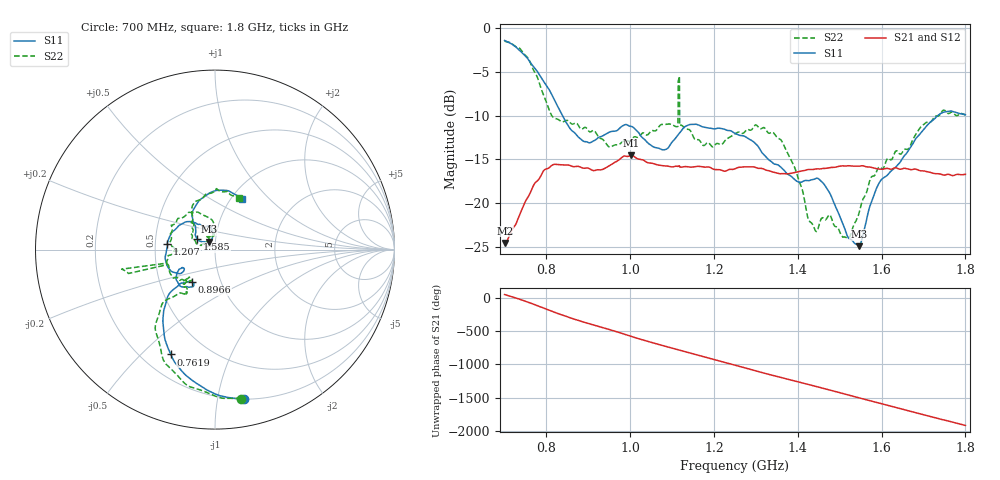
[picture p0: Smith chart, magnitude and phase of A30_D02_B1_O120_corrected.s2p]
! Created with skrf 1.9.0 (http://scikit-rf.org).
# Hz S RI R 50.0
!freq ReS11 ImS11 ReS21 ImS21 ReS12 ImS12 ReS22 ImS22
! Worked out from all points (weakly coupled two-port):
!   1601 points, 700 MHz to 1.8 GHz, reference 50 ohm
!   highest |S21| = -14.56 dB at 1.002 GHz (marker M1); lowest = -24.6 dB at 700.7 MHz (marker M2)
!   lowest |S11| = -24.9 dB at 1.546 GHz (marker M3), VSWR 1.12, Z = 46.4 + j4.16 ohm
!   |S11| at or under -10 dB: 838.2 MHz to 1.734 GHz (895.9 MHz wide, 69.7 % of centre)
!   |S22| runs from -24.1 to -1.5 dB; largest |S21 - S12| = 0.0034
!   S11 on the Smith chart (normalised r, x): 700 MHz: 0.20, -1.19; 761.9 MHz: 0.32, -0.62; 896.6 MHz: 0.73, -0.28; 1.207 GHz: 0.58, +0.04; 1.585 GHz: 0.81, +0.10; 1.8 GHz: 1.12, +0.71
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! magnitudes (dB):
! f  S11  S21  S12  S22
! 700 MHz  -1.4  -24.6  -24.3  -1.5
! 700.7 MHz  -1.4  -24.6  -24.3  -1.5
! 761.9 MHz  -4.0  -18.8  -18.7  -4.0
! 814.1 MHz  -7.7  -15.6  -15.7  -10.1
! 883.6 MHz  -12.8  -15.9  -15.8  -11.6
! 896.6 MHz  -13.0  -16.0  -16.1  -11.5
! 950.9 MHz  -11.9  -15.7  -15.7  -13.6
! 1.002 GHz  -11.2  -14.6  -14.7  -12.8
! 1.067 GHz  -13.7  -15.7  -15.6  -11.4
! 1.12 GHz  -11.9  -15.9  -15.8  -11.1
! 1.154 GHz  -11.0  -15.9  -15.8  -12.7
! 1.207 GHz  -11.5  -16.2  -16.2  -13.2
! 1.25 GHz  -12.0  -16.1  -16.0  -12.1
! 1.359 GHz  -15.9  -16.6  -16.6  -12.8
! 1.434 GHz  -17.3  -16.2  -16.1  -22.3
! 1.471 GHz  -18.5  -16.0  -16.0  -21.6
! 1.519 GHz  -23.8  -15.7  -15.8  -24.0
! 1.546 GHz  -24.9  -15.8  -15.8  -21.2
! 1.585 GHz  -18.7  -16.0  -16.0  -16.7
! 1.617 GHz  -16.6  -16.1  -16.0  -14.9
! 1.737 GHz  -9.9  -16.7  -16.7  -10.0
! 1.8 GHz  -9.9  -16.7  -16.7  -9.9
